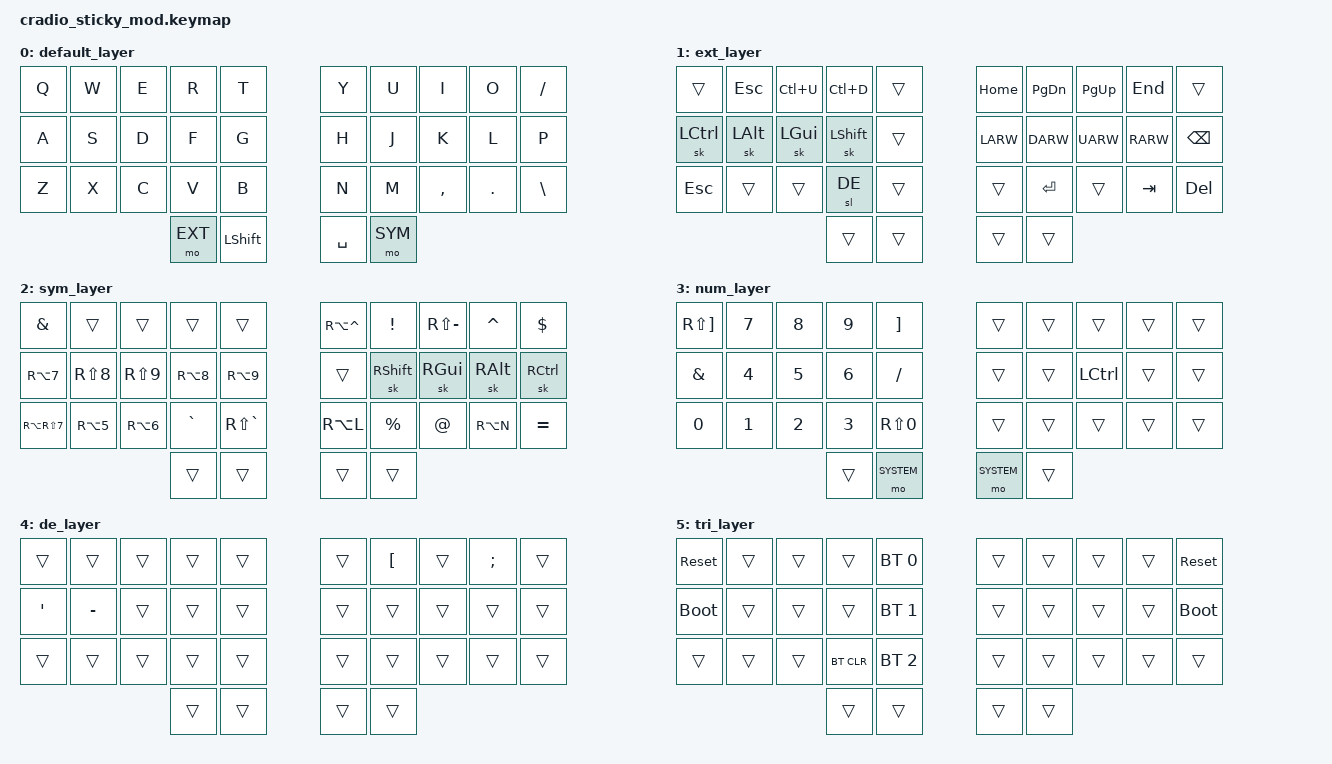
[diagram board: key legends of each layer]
// Copyright (c) 2022 The ZMK Contributors
// SPDX-License-Identifier: MIT

#include <behaviors.dtsi>
#include <dt-bindings/zmk/keys.h>
#include <dt-bindings/zmk/bt.h>

// Home row mods macro

#define DEFAULT 0
#define EXT 1
#define SYM 2
#define NUMS 3
#define DE 4
#define SYSTEM 5



&sk {
    release-after-ms = <2000>;
    /delete-property/ ignore-modifiers;
};

&sl {
    release-after-ms = <2000>;
};

/ {

    conditional_layers {
        compatible = "zmk,conditional-layers";
        tri_layer {
            if-layers = <EXT SYM>;
            then-layer = <NUMS>;
        };
    };

    combos {
        compatible = "zmk,combos";
        combo_esc {
            timeout-ms = <50>;
            key-positions = <1 2>;
            bindings = <&kp ESC>;
        };
        combo_enter {
            timeout-ms = <50>;
            key-positions = <7 8>;
            bindings = <&kp ENTER>;
        };
        combo_bspc {
            timeout-ms = <50>;
            key-positions = <27 28>;
            bindings = <&kp BSPC>;
        };
    };

    keymap {
        compatible = "zmk,keymap";
        default_layer {
            bindings = <
        //╭──────────┬──────────┬──────────┬──────────┬──────────╮   ╭──────────┬──────────┬──────────┬──────────┬──────────╮
        //│  Q       │  W       │  E       │  R       │  T       │   │  Y       │  U       │  I       │  O       │ - _      │
            &kp Q      &kp W      &kp E      &kp R      &kp T          &kp Y      &kp U      &kp I      &kp O      &kp FSLH
        //├──────────┼──────────┼──────────┼──────────┼──────────┤   ├──────────┼──────────┼──────────┼──────────┼──────────┤
        //│  A       │  S       │  D       │  F       │  G       │   │  H       │  J       │  K       │  L       │ P        │
            &kp A      &kp S      &kp D      &kp F      &kp G          &kp H      &kp J      &kp K      &kp L      &kp P
        //├──────────┼──────────┼──────────┼──────────┼──────────┤   ├──────────┼──────────┼──────────┼──────────┼──────────┤
        //│  Z       │  X       │  C       │  V       │  B       │   │  N       │  M       │ , <      │ . >      │ # '      │
            &kp Z      &kp X      &kp C      &kp V      &kp B          &kp N      &kp M      &kp COMMA  &kp DOT    &kp BSLH
        //╰──────────┴──────────┴──────────┼──────────┼──────────┤   ├──────────┼──────────┼──────────┴──────────┴──────────╯
                                             &mo EXT    &kp LSHFT         &kp SPACE  &mo SYM
        //                                 ╰──────────┴──────────╯   ╰──────────┴──────────╯
            >;
        };

        ext_layer {
            bindings = <
        //╭──────────┬──────────┬──────────┬──────────┬──────────╮   ╭──────────┬──────────┬──────────┬──────────┬──────────╮
        //│          │          │          │          │          │   │          │          │          │          │          │
           &trans      &kp ESC    &kp LC(U) &kp LC(D)   &trans         &kp HOME   &kp PG_DN &kp PG_UP   &kp END    &trans
        //├──────────┼──────────┼──────────┼──────────┼──────────┤   ├──────────┼──────────┼──────────┼──────────┼──────────┤
        //│          │          │          │          │          │   │ LEFT     │ DOWN     │ UP       │ RIGHT    │          │
            &sk LCTRL  &sk LALT   &sk LGUI   &sk LSHFT  &trans         &kp LARW   &kp DARW   &kp UARW   &kp RARW   &kp BSPC
        //├──────────┼──────────┼──────────┼──────────┼──────────┤   ├──────────┼──────────┼──────────┼──────────┼──────────┤
        //│          │          │          │          │          │   │          │          │          │          │          │
            &kp ESC    &trans     &trans     &sl DE     &trans         &trans     &kp ENTER  &trans     &kp TAB    &kp DEL
        //╰──────────┴──────────┴──────────┼──────────┼──────────┤   ├──────────┼──────────┼──────────┴──────────┴──────────╯
                                             &trans     &trans         &trans     &trans
        //                                 ╰──────────┴──────────╯   ╰──────────┴──────────╯
            >;
        };

        sym_layer {
            bindings = <
        //╭──────────┬──────────┬──────────┬──────────┬──────────╮   ╭──────────┬──────────┬──────────┬──────────┬──────────╮
        //│  /       │          │          │          │          │   │ ^        │ !        │ ?        │ &        │  $       │      
            &kp AMPS   &trans     &trans     &trans     &trans       &kp RA(CARET) &kp EXCL &kp RS(MINUS) &kp CARET &kp DLLR
        //├──────────┼──────────┼──────────┼──────────┼──────────┤   ├──────────┼──────────┼──────────┼──────────┼──────────┤
        //│  |       │  (       │  )       │  {       │  }       │   │          │          │          │          │          │
            &kp RA(N7) &kp RS(N8) &kp RS(N9) &kp RA(N8) &kp RA(N9)      &trans     &sk RSHFT  &sk RGUI   &sk RALT   &sk RCTRL
        //├──────────┼──────────┼──────────┼──────────┼──────────┤   ├──────────┼──────────┼──────────┼──────────┼──────────┤
        //│  \       │  [       │  ]       │  <       │  >       │   │ @        │ %        │ qoute    │ ~        │  `       │
          &kp RA(RS(N7)) &kp RA(N5) &kp RA(N6) &kp GRAVE  &kp RS(GRAVE)  &kp RA(L)  &kp PRCNT  &kp AT     &kp RA(N)  &kp EQUAL
        //├──────────┼──────────┼──────────┴──────────┴──────────╯   ├──────────┼──────────┼──────────┴──────────┴──────────╯
                                             &trans     &trans         &trans     &trans
        //                                 ╰──────────┴──────────╯   ╰──────────┴──────────╯
            >;
        };

        num_layer {
            bindings = <
        //╭──────────┬──────────┬──────────┬──────────┬──────────╮   ╭──────────┬──────────┬──────────┬──────────┬──────────╮
        //│  *       │  7       │  8       │  9       │  +       │   │          │          │          │          │          │
           &kp RS(RBKT) &kp N7    &kp N8     &kp N9     &kp RBKT      &trans     &trans     &trans     &trans     &trans 
        //├──────────┼──────────┼──────────┼──────────┼──────────┤   ├──────────┼──────────┼──────────┼──────────┼──────────┤
        //│  7       │  4       │  5       │  6       │  -       │   │          │          │          │          │          │
            &kp AMPS   &kp N4     &kp N5     &kp N6     &kp FSLH        &trans     &trans     &kp LCTRL    &trans     &trans 
        //├──────────┼──────────┼──────────┼──────────┼──────────┤   ├──────────┼──────────┼──────────┼──────────┼──────────┤
        //│  0       │  1       │  2       │  3       │  =       │   │          │          │          │          │          │
            &kp N0     &kp N1     &kp N2     &kp N3     &kp RS(N0)      &trans     &trans     &trans     &trans     &trans
        //╰──────────┴──────────┴──────────┼──────────┼──────────┤   ├──────────┼──────────┼──────────┴──────────┴──────────╯
                                             &trans     &mo SYSTEM     &mo SYSTEM  &trans
        //                                 ╰──────────┴──────────╯   ╰──────────┴──────────╯
            >;
        };


        de_layer {
            bindings = <
        //╭──────────┬──────────┬──────────┬──────────┬──────────╮   ╭──────────┬──────────┬──────────┬──────────┬──────────╮
        //│          │          │          │          │          │   │          │  ü       │          │  ö       │          │
           &trans      &trans     &trans     &trans     &trans         &trans     &kp LBKT   &trans     &kp SEMI   &trans 
        //├──────────┼──────────┼──────────┼──────────┼──────────┤   ├──────────┼──────────┼──────────┼──────────┼──────────┤
        //│  ä       │  ß       │          │          │          │   │          │          │          │          │          │
            &kp SQT    &kp MINUS  &trans     &trans     &trans         &trans     &trans     &trans     &trans     &trans
        //├──────────┼──────────┼──────────┼──────────┼──────────┤   ├──────────┼──────────┼──────────┼──────────┼──────────┤
        //│          │          │          │          │          │   │          │          │          │          │          │
            &trans     &trans     &trans     &trans     &trans         &trans     &trans     &trans     &trans     &trans
        //╰──────────┴──────────┴──────────┼──────────┼──────────┤   ├──────────┼──────────┼──────────┴──────────┴──────────╯
                                             &trans     &trans         &trans     &trans
        //                                 ╰──────────┴──────────╯   ╰──────────┴──────────╯
            >;
        };

        tri_layer {
            bindings = <
        //╭──────────┬──────────┬──────────┬──────────┬──────────╮   ╭──────────┬──────────┬──────────┬──────────┬──────────╮
        //│ RESET    │          │          │          │PROFILE 0 │   │          │          │          │          │  RESET   │
           &sys_reset  &trans     &trans     &trans    &bt BT_SEL 0    &trans     &trans     &trans     &trans    &sys_reset
        //├──────────┼──────────┼──────────┼──────────┼──────────┤   ├──────────┼──────────┼──────────┼──────────┼──────────┤
        //│BOOTLOADER│          │          │          │PROFILE 1 │   │          │          │          │          │BOOTLOADER│
          &bootloader  &trans     &trans     &trans   &bt BT_SEL 1    &trans     &trans     &trans     &trans    &bootloader
        //├──────────┼──────────┼──────────┼──────────┼──────────┤   ├──────────┼──────────┼──────────┼──────────┼──────────┤
        //│          │          │          │ CLEAR BT │PROFILE 2 │   │          │          │          │          │          │
            &trans     &trans     &trans    &bt BT_CLR &bt BT_SEL 2    &trans     &trans     &trans     &trans     &trans
        //╰──────────┴──────────┴──────────┼──────────┼──────────┤   ├──────────┼──────────┼──────────┴──────────┴──────────╯
                                             &trans     &trans         &trans     &trans
        //                                 ╰──────────┴──────────╯   ╰──────────┴──────────╯
            >;
        };


    };
};
